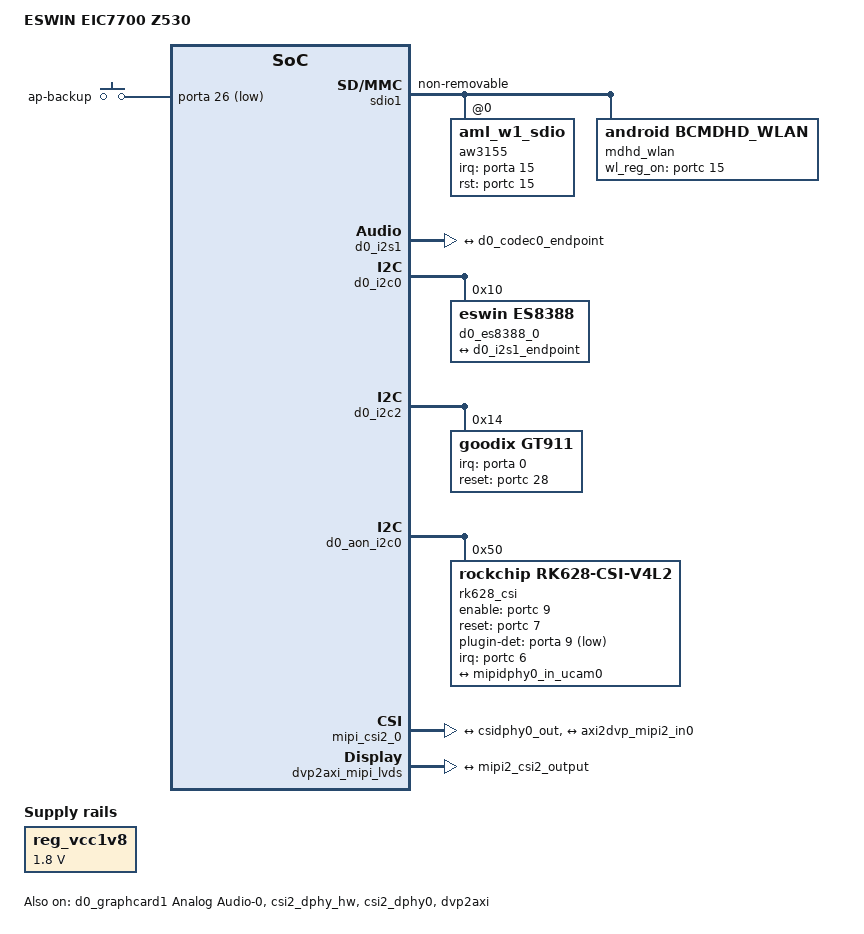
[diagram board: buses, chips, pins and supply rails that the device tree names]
// SPDX-License-Identifier: GPL-2.0
/*
 * Device Tree file for Eswin EIC7700 SoC.
 *
 * Copyright 2024, Beijing ESWIN Computing Technology Co., Ltd.. All rights reserved.
 * SPDX-License-Identifier: GPL-2.0
 *
 * This program is free software: you can redistribute it and/or modify
 * it under the terms of the GNU General Public License as published by
 * the Free Software Foundation, version 2.
 *
 * This program is distributed in the hope that it will be useful,
 * but WITHOUT ANY WARRANTY; without even the implied warranty of
 * MERCHANTABILITY or FITNESS FOR A PARTICULAR PURPOSE.  See the
 * GNU General Public License for more details.
 *
 * You should have received a copy of the GNU General Public License
 * along with this program.  If not, see <https://www.gnu.org/licenses/>.
 */

#include "eic7700-som260-a1.dtsi"

/ {
	#address-cells = <2>;
	#size-cells = <2>;
	model = "ESWIN EIC7700 Z530";

	gpio-keys {
		compatible = "gpio-keys";

		ap_backup {
			label = "ap-backup";
			linux,code = <KEY_OK>;
			pinctrl-names = "default";
			pinctrl-0 = <&pinctrl_gpio26_default>;
			gpios = <&porta 26 GPIO_ACTIVE_LOW>;
		};
	};
	reg_vcc1v8: vcc1v8 {
		compatible = "regulator-fixed";
		regulator-name = "vcc1v8";
		regulator-min-microvolt = <1800000>;
		regulator-max-microvolt = <1800000>;
	};
};

&d0_gmac0 {
	dly-param-1000m = <0x23232323 0xa0209023 0x20202020>;
	dly-param-100m = <0x50505050 0x803f8050 0x3f3f3f3f>;
	dly-param-10m = <0 0 0>;
};

&d0_gmac1 {
	dly-param-1000m = <0x00000000 0xe002e000 0x04040404>;
	dly-param-100m = <0x48484848 0x80588048 0x58585858>;
	dly-param-10m = <0 0 0>;
};


&pcie {
	pinctrl-names = "default";
	pinctrl-0 = <&pinctrl_gpio10_default>;
	pci-prsnt = <&porta 10 GPIO_ACTIVE_LOW>;
};

&sdio0 {
	/* sd card */
	delay_code = <0x3b>;
	drive-impedance-ohm = <33>;
	enable-cmd-pullup;
	enable-data-pullup;
	no-sdio;
	no-mmc;
};

&sdio1 {
	/* wifi module */
	delay_code = <0x32>;
	drive-impedance-ohm = <33>;
	enable-cmd-pullup;
	enable-data-pullup;
	keep-power-in-suspend;
	non-removable;
	no-sd;
	no-mmc;
	vqmmc-supply = <&reg_vcc1v8>;
	aw3155:wifi_aw3155@0 {
		compatible = "aml_w1_sdio";
		reg = <0x0>;
		interrupt-parent = <&porta>;
		interrupts = <15 IRQ_TYPE_LEVEL_LOW>;
		pinctrl-names = "default", "default";
		pinctrl-0 = <&pinctrl_gpio15_default>;
		pinctrl-1 = <&pinctrl_gpio79_default>;
		irq-gpios = <&porta 15 GPIO_ACTIVE_HIGH>;
		rst-gpios = <&portc 15 GPIO_ACTIVE_HIGH>;

	};
	mdhd_wlan {
		compatible = "android,bcmdhd_wlan";
		pinctrl-names = "default";
		pinctrl-0 = <&pinctrl_gpio79_default>;
		gpio_wl_reg_on = <&portc 15 GPIO_ACTIVE_HIGH>;
	};
};

&ssi0 {
	/* lora */
};

&ssi1 {
	/* unused */
	status = "disabled";
};

&d0_graphcard1 {
	status = "okay";
	label = "Analog Audio-0";
	dais = <&d0_i2s1_port>;
};

&d0_graphcard2 {
	status = "disabled";
};

&d0_i2s1 {
	status = "okay";
	d0_i2s1_port: port {
		d0_i2s1_endpoint: endpoint {
			remote-endpoint = <&d0_codec0_endpoint>;
			dai-format = "i2s";
		};
	};
};

&d0_i2s2 {
	status = "disabled";
};

&d0_i2c0 {
	/* codec es8388 */
	d0_es8388_0: es8388-0@10 {
		compatible = "eswin,es8388";
		reg = <0x10>;
		#sound-dai-cells = <0>;
		eswin-plat = <3>;
		port {
			d0_codec0_endpoint: endpoint {
				system-clock-frequency = <12288000>;
				remote-endpoint = <&d0_i2s1_endpoint>;
			};
		};
	};
};

&d0_i2c1 {
	/* rtc rs4c411 & mipi dsi */

};

&d0_i2c2 {
	/* touch screen*/
	gt911:touchscreen@14 {
		compatible = "goodix,gt911";
		reg = <0x14>;
		interrupt-parent = <&porta>;
		interrupts = <0 IRQ_TYPE_EDGE_RISING>;
		pinctrl-names = "default";
		pinctrl-0 = <&pinctrl_gpio0_default &pinctrl_gpio92_default>;
		irq-gpios = <&porta 0 GPIO_ACTIVE_HIGH>;
		reset-gpios = <&portc 28 GPIO_ACTIVE_HIGH>;
	};
};

&d0_aon_i2c0 {
	/* rk628f */
	status = "okay";
	i2c-sda-hold-time-ns = <1000>;

	rk628_csi: rk628_csi@50 {
		reg = <0x50>;
		compatible = "rockchip,rk628-csi-v4l2";
		status = "okay";
		pinctrl-names = "default";
		pinctrl-0 = <&pinctrl_gpio70_default &pinctrl_gpio71_default &pinctrl_gpio73_default &pinctrl_gpio9_default>;
		/* pinctrl-0 = <&rk628_pin>; */
		/* RK628_INT_H GPIO_070 input */
		interrupt-parent = <&portc>;
		interrupts = <6 IRQ_TYPE_EDGE_RISING>;
		/* RK628_PWR_EN_H_3V3 GPIO_073 output high */
		enable-gpios = <&portc 9 GPIO_ACTIVE_HIGH>;
		/* RK628_RESET_H GPIO_071 output high */
		reset-gpios = <&portc 7 GPIO_ACTIVE_HIGH>;
		/* RK628_Plugin_DET_1V8 GPIO_009 input */
		plugin-det-gpios = <&porta 9 GPIO_ACTIVE_LOW>;
		continues-clk = <1>;

		rockchip,camera-module-index = <0>;
		rockchip,camera-module-facing = "back";
		rockchip,camera-module-name = "HDMI-MIPI";
		rockchip,camera-module-lens-name = "RK628-CSI";
/*
		multi-dev-info {
			dev-idx-l = <0>;
			dev-idx-r = <1>;
			combine-idx = <0>;
			pixel-offset = <0>;
			dev-num = <2>;
		};
*/
		port {
			hdmiin_out0: endpoint {
				remote-endpoint = <&mipidphy0_in_ucam0>;
				data-lanes = <1 2>;
				link-frequencies = /bits/ 64 <456000000>;
			};
		};
	};
};

&csi2_dphy_hw {
	status = "okay";
};

&csi2_dphy0 {
	status = "okay";
	ports {
		#address-cells = <1>;
		#size-cells = <0>;

		port@0 {
			reg = <0>;
			#address-cells = <1>;
			#size-cells = <0>;

			mipidphy0_in_ucam0: endpoint@1 {
				reg = <1>;
				remote-endpoint = <&hdmiin_out0>;
				data-lanes = <1 2>;
			};
		};

		port@1 {
			reg = <1>;
			#address-cells = <1>;
			#size-cells = <0>;

			csidphy0_out: endpoint@0 {
				reg = <0>;
				remote-endpoint = <&mipi2_csi2_input>;
				data-lanes = <1 2>;
			};
		};
	};
};

&csi2_dphy1 {
	status = "disabled";
};

&mipi_csi2_0 {
	status = "okay";
	ports {
		#address-cells = <1>;
		#size-cells = <0>;

		port@0 {
			reg = <0>;
			#address-cells = <1>;
			#size-cells = <0>;

			mipi2_csi2_input: endpoint@1 {
				reg = <1>;
				remote-endpoint = <&csidphy0_out>;
				data-lanes = <1 2>;
			};
		};

		port@1 {
			reg = <1>;
			#address-cells = <1>;
			#size-cells = <0>;

			mipi2_csi2_output: endpoint@0 {
				reg = <0>;
				remote-endpoint = <&axi2dvp_mipi2_in0>;
				data-lanes = <1 2>;
			};
		};
	};
};

&dvp2axi {
	status = "okay";
};

&dvp2axi_mipi_lvds {
	status = "okay";
	port {
		axi2dvp_mipi2_in0: endpoint {
			remote-endpoint = <&mipi2_csi2_output>;
			data-lanes = <1 2>;
		};
	};
};

&mipi_dphy_rx {
	status = "disabled";
};

&csi_dma0 {
	status = "disabled";
};

&csi_dma1 {
	status = "disabled";
};

&csi2_0 {
	status = "disabled";
};

&csi2_1 {
	status = "disabled";
};

/* GPIO Function Description
	gpio0   : touch int(I)
	gpio5   : 5g wake on host(I)
	gpio6   : 5g disable2(O)
	gpio7   : mipi dsi ctrl(O)
	gpio8   : 5g disable1(O)
	gpio9   : rk628 plugin detect(I)
	gpio10  : pcie prsnt(I)
	gpio12  : bt wake host(I)
	gpio15  : wlan wake host(I)
	gpio26  : ap backup(I)
	gpio39  : lora busy(I)
	gpio41  : host wake bt(I)
	gpio70  : rk628 int(I)
	gpio71  : rk628 reset(O)
	gpio73  : rk628 power enable(O)
	gpio74  : 5g pwren(O)
	gpio76  : eth rset(O)
	gpio77  : lora nreset(O)
	gpio79  : m2 power on(O)
	gpio80  : lora ctrl2(O)
	gpio81  : lora ctrl1(O)
	gpio92  : touch rstn(O)
	gpio93  : 5g reset(O)
*/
